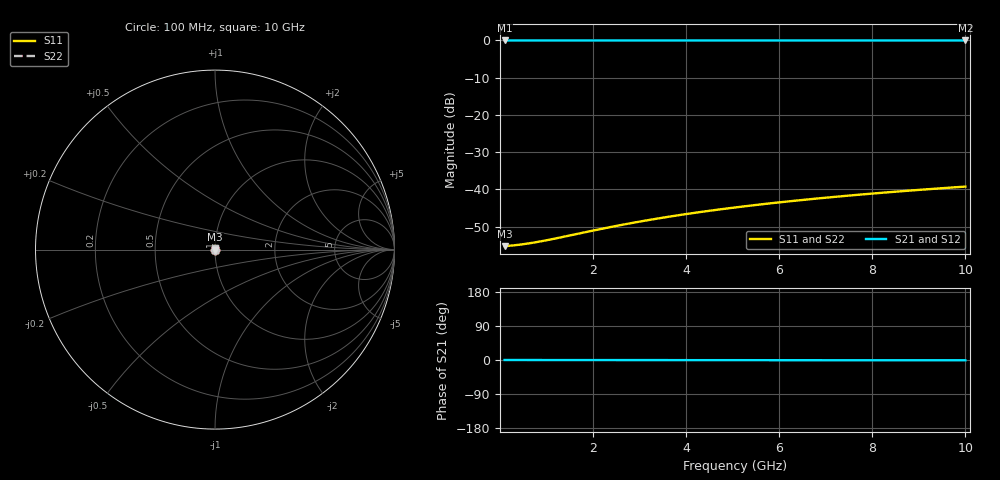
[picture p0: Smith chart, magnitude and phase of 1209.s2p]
# Hz S RI R 50.00
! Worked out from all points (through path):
!   100 points, 100 MHz to 10 GHz, reference 50 ohm
!   highest |S21| = -0.02 dB at 100 MHz (marker M1); lowest = 0.0 dB at 10 GHz (marker M2)
!   lowest |S11| = -55.2 dB at 100 MHz (marker M3), VSWR 1.00, Z = 50.2 + j0.0107 ohm
!   |S11| at or under -10 dB: start of sweep to end of sweep
!   |S22| runs from -55.2 to -39.2 dB; largest |S21 - S12| = 1e-15
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1e8  0.00173 0.000107  0.9983 -0.000141  0.9983 -0.000141  0.00173 0.000107
3e8  0.00175 0.000321  0.9982 -0.000423  0.9982 -0.000423  0.00175 0.000321
4e8  0.00176 0.000428  0.9982 -0.000563  0.9982 -0.000563  0.00176 0.000428
6e8  0.00177 0.000643  0.9982 -0.000845  0.9982 -0.000845  0.00177 0.000643
8e8  0.00178 0.000857  0.9982 -0.00113  0.9982 -0.00113  0.00178 0.000857
1e9  0.00178 0.00107  0.9982 -0.00141  0.9982 -0.00141  0.00178 0.00107
1.2e9  0.00179 0.00129  0.9982 -0.00169  0.9982 -0.00169  0.00179 0.00129
1.8e9  0.00181 0.00193  0.9982 -0.00254  0.9982 -0.00254  0.00181 0.00193
2.2e9  0.00182 0.00236  0.9982 -0.0031  0.9982 -0.0031  0.00182 0.00236
2.6e9  0.00183 0.00278  0.9982 -0.00366  0.9982 -0.00366  0.00183 0.00278
3e9  0.00184 0.00321  0.9982 -0.00423  0.9982 -0.00423  0.00184 0.00321
3.4e9  0.00185 0.00364  0.9981 -0.00479  0.9981 -0.00479  0.00185 0.00364
3.8e9  0.00186 0.00407  0.9981 -0.00535  0.9981 -0.00535  0.00186 0.00407
4.2e9  0.00187 0.0045  0.9981 -0.00592  0.9981 -0.00592  0.00187 0.0045
4.6e9  0.00188 0.00493  0.9981 -0.00648  0.9981 -0.00648  0.00188 0.00493
5.1e9  0.00189 0.00547  0.9981 -0.00719  0.9981 -0.00719  0.00189 0.00547
5.9e9  0.00191 0.00632  0.9981 -0.00832  0.9981 -0.00832  0.00191 0.00632
6.7e9  0.00193 0.00718  0.9981 -0.00945  0.9981 -0.00945  0.00193 0.00718
7.5e9  0.00196 0.00804  0.998 -0.0106  0.998 -0.0106  0.00196 0.00804
8.4e9  0.00199 0.00901  0.998 -0.0119  0.998 -0.0119  0.00199 0.00901
9.2e9  0.00201 0.00987  0.998 -0.013  0.998 -0.013  0.00201 0.00987
1e10  0.00204 0.0107  0.9979 -0.0141  0.9979 -0.0141  0.00204 0.0107
